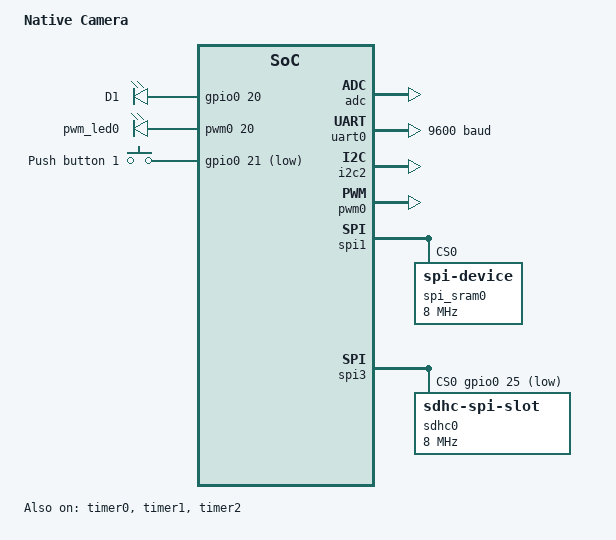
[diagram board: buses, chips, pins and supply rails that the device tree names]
/*
 * Copyright (c) 2018-2020 Nordic Semiconductor ASA
 *
 * SPDX-License-Identifier: Apache-2.0
 */

#include "native_camera_common-pinctrl.dtsi"

/ {
	model = "Native Camera";
	compatible = "BoSL,nativecamera";

	chosen {
		zephyr,console = &uart0;
		zephyr,shell-uart = &uart0;
		zephyr,uart-mcumgr = &uart0;
	};

	leds {
		compatible = "gpio-leds";
		led0: led_0 {
			gpios = <&gpio0 20 0>;
			label = "D1";
		};
	};

	pwmleds {
		compatible = "pwm-leds";
		pwm_led0: pwm_led_0 {
			pwms = <&pwm0 20 0 PWM_POLARITY_NORMAL>;
		};
	};

	buttons {
		compatible = "gpio-keys";
		button0: button_0 {
			gpios = <&gpio0 21 (GPIO_PULL_UP | GPIO_ACTIVE_LOW)>;
			label = "Push button 1";
		};
	};
	
		

	/* These aliases are provided for compatibility with samples */
	aliases {
		led0 = &led0;
		pwm-led0 = &pwm_led0;
		sw0 = &button0;
		bootloader-led0 = &led0;
		watchdog0 = &wdt0;
	};
};

&adc {
	status = "okay";
};

&gpiote {
	status = "okay";
};

&gpio0 {
	status = "okay";
};


arduino_serial: &uart0 {
	status = "okay";
	current-speed = <9600>;
	pinctrl-0 = <&uart0_default>;
	pinctrl-1 = <&uart0_sleep>;
	pinctrl-names = "default", "sleep";
};

arduino_i2c: &i2c2 {
	label = "I2C2";
	compatible = "nordic,nrf-twim";
	status = "okay";
	pinctrl-0 = <&i2c2_default>;
	pinctrl-1 = <&i2c2_sleep>;
	pinctrl-names = "default", "sleep";
};

&pwm0 {
	status = "okay";
	pinctrl-0 = <&pwm0_default>;
	pinctrl-1 = <&pwm0_sleep>;
	pinctrl-names = "default", "sleep";
};

&spi1 {
	compatible = "nordic,nrf-spim";
	status = "okay";
	pinctrl-0 = <&spi1_default>;
	pinctrl-1 = <&spi1_sleep>;
	pinctrl-names = "default", "sleep";

	spi_sram0: spi-device@0 {
		reg = <0>;
		status = "okay";
		spi-max-frequency = <8000000>;
	};
};

&spi3 {
        compatible = "nordic,nrf-spim";
        status = "okay";
        cs-gpios = <&gpio0 25 GPIO_ACTIVE_LOW>;
	pinctrl-0 = <&spi3_default>;
	pinctrl-1 = <&spi3_sleep>;
	pinctrl-names = "default", "sleep";

	sdhc0: sdhc@0 {
		compatible = "zephyr,sdhc-spi-slot";
		reg = <0>;
		status = "okay";
		mmc {
			compatible = "zephyr,sdmmc-disk";
			disk-name = "SD";
			status = "okay";
		};
		spi-max-frequency = <8000000>;
	};
};

&timer0 {
	status = "okay";
};

&timer1 {
	status = "okay";
};

&timer2 {
	status = "okay";
};

&flash0 {

	partitions {
		compatible = "fixed-partitions";
		#address-cells = <1>;
		#size-cells = <1>;

		boot_partition: partition@0 {
			label = "mcuboot";
			reg = <0x00000000 0x10000>;
		};
		slot0_partition: partition@10000 {
			label = "image-0";
		};
		slot0_ns_partition: partition@50000 {
			label = "image-0-nonsecure";
		};
		slot1_partition: partition@80000 {
			label = "image-1";
		};
		slot1_ns_partition: partition@c0000 {
			label = "image-1-nonsecure";
		};
		scratch_partition: partition@f0000 {
			label = "image-scratch";
			reg = <0x000f0000 0xa000>;
		};
		storage_partition: partition@fa000 {
			label = "storage";
			reg = <0x000fa000 0x00006000>;
		};
	};
};

/ {

	reserved-memory {
		#address-cells = <1>;
		#size-cells = <1>;
		ranges;

		sram0_s: image_s@20000000 {
			/* Secure image memory */
		};

		sram0_modem: image_modem@20016000 {
			/* Modem (shared) memory */
		};

		sram0_ns: image_ns@20020000 {
			/* Non-Secure image memory */
		};
	};
};

/* Include partition configuration file */
#include "native_camera_partition_conf.dts"
